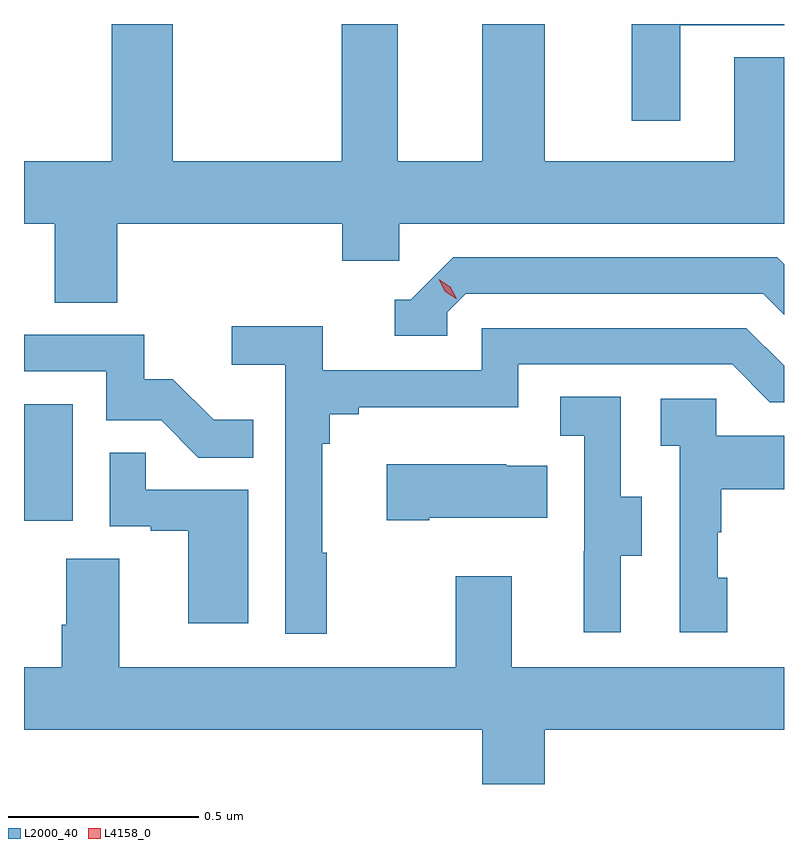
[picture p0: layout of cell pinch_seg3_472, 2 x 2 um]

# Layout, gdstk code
import gdstk
lib = gdstk.Library(unit=1e-6, precision=1e-09)
def R(c, l, rs):  # rectangles x0, y0, x1, y1
    for r in rs: c.add(gdstk.rectangle(r[:2], r[2:], *l))
def P(c, l, *ps):  # polygons
    for p in ps: c.add(gdstk.Polygon(p, *l))
L2000_40 = (2000, 40)
L4158_0 = (4158, 0)

pinch_seg3_472 = lib.new_cell('pinch_seg3_472')
R(pinch_seg3_472, L2000_40, [(907.058,681.486,907.186,681.793)])
P(pinch_seg3_472, L2000_40, [(908.785,682.79),(909.058,682.79),(909.058,682.793),(908.657,682.793),(908.657,682.539),(908.785,682.539)],
  [(907.304,682.268),(907.895,682.268),(907.895,682.17),(908.046,682.17),(908.046,682.268),(909.058,682.268),(909.058,682.705),(908.927,682.705),(908.927,682.432),(908.428,682.432),(908.428,682.793),(908.264,682.793),(908.264,682.432),(908.041,682.432),(908.041,682.793),(907.894,682.793),(907.894,682.432),(907.449,682.432),(907.449,682.793),(907.289,682.793),(907.289,682.432),(907.058,682.432),(907.058,682.268),(907.139,682.268),(907.139,682.06),(907.304,682.06)],
  [(908.172,682.035),(908.22,682.083),(909.003,682.083),(909.058,682.028),(909.058,682.161),(909.04,682.179),(908.187,682.179),(908.076,682.068),(908.033,682.068),(908.033,681.972),(908.172,681.972)],
  [(907.855,681.401),(907.843,681.401),(907.843,681.689),(907.862,681.689),(907.862,681.766),(907.939,681.766),(907.939,681.785),(908.358,681.785),(908.358,681.897),(908.922,681.897),(909.021,681.798),(909.058,681.798),(909.058,681.894),(908.959,681.993),(908.262,681.993),(908.262,681.882),(907.844,681.882),(907.844,681.998),(907.605,681.998),(907.605,681.896),(907.746,681.896),(907.746,681.189),(907.855,681.189)],
  [(907.661,681.751),(907.557,681.751),(907.45,681.858),(907.374,681.858),(907.374,681.975),(907.058,681.975),(907.058,681.879),(907.275,681.879),(907.275,681.75),(907.419,681.75),(907.517,681.652),(907.661,681.652)],
  [(908.629,681.394),(908.683,681.394),(908.683,681.549),(908.628,681.549),(908.628,681.812),(908.469,681.812),(908.469,681.709),(908.532,681.709),(908.532,681.405),(908.531,681.405),(908.531,681.192),(908.629,681.192)],
  [(908.908,681.336),(908.883,681.336),(908.883,681.455),(908.893,681.455),(908.893,681.569),(909.058,681.569),(909.058,681.709),(908.88,681.709),(908.88,681.807),(908.733,681.807),(908.733,681.683),(908.784,681.683),(908.784,681.192),(908.908,681.192)],
  [(907.648,681.567),(907.379,681.567),(907.379,681.665),(907.284,681.665),(907.284,681.471),(907.391,681.471),(907.391,681.459),(907.49,681.459),(907.49,681.216),(907.648,681.216)],
  [(908.125,681.494),(908.435,681.494),(908.435,681.631),(908.327,681.631),(908.327,681.634),(908.013,681.634),(908.013,681.487),(908.125,681.487)],
  [(908.428,680.936),(909.058,680.936),(909.058,681.1),(908.341,681.1),(908.341,681.34),(908.194,681.34),(908.194,681.1),(907.309,681.1),(907.309,681.386),(907.169,681.386),(907.169,681.212),(907.157,681.212),(907.157,681.1),(907.058,681.1),(907.058,680.936),(908.264,680.936),(908.264,680.793),(908.428,680.793)])
P(pinch_seg3_472, L4158_0, [(908.196,682.07),(908.166,682.088),(908.149,682.121),(908.149,682.121),(908.15,682.121),(908.18,682.102),(908.197,682.07),(908.197,682.07)])

lib.write_gds('pinch_seg3_472.gds')
